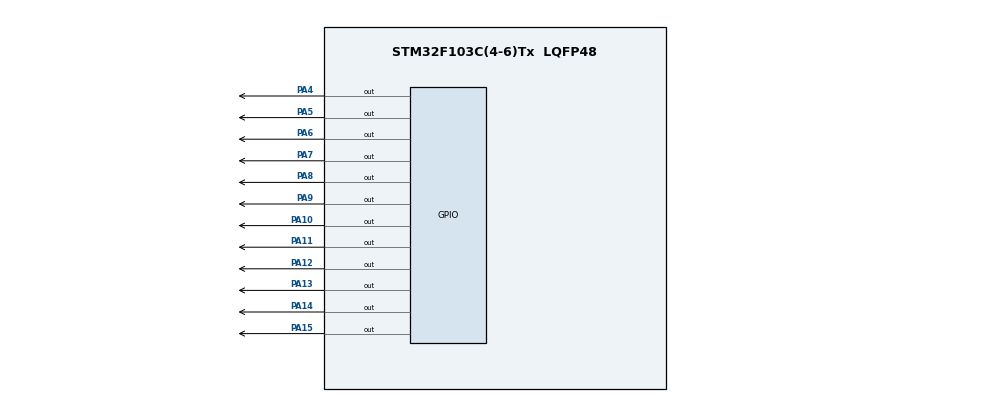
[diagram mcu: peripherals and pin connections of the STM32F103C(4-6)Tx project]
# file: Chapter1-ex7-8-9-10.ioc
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Mcu.Family=STM32F1
Mcu.Name=STM32F103C(4-6)Tx
Mcu.Package=LQFP48
NVIC.PriorityGroup=NVIC_PRIORITYGROUP_4
PA10.Signal=GPIO_Output
PA11.Signal=GPIO_Output
PA12.Signal=GPIO_Output
PA13.Signal=GPIO_Output
PA14.Signal=GPIO_Output
PA15.Signal=GPIO_Output
PA4.Signal=GPIO_Output
PA5.Signal=GPIO_Output
PA6.Signal=GPIO_Output
PA7.Signal=GPIO_Output
PA8.Signal=GPIO_Output
PA9.Signal=GPIO_Output
ProjectManager.HeapSize=0x200
ProjectManager.StackSize=0x400
ProjectManager.TargetToolchain=STM32CubeIDE
RCC.APB1Freq_Value=8000000
RCC.APB2Freq_Value=8000000
VP_SYS_VS_ND.Mode=No_Debug
board=custom

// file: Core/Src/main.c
/* USER CODE BEGIN Header */
/**
  ******************************************************************************
  * @file           : main.c
  * @brief          : Main program body
  ******************************************************************************
  * @attention
  *
  * <h2><center>&copy; Copyright (c) 2021 STMicroelectronics.
  * All rights reserved.</center></h2>
  *
  * This software component is licensed by ST under BSD 3-Clause license,
  * the "License"; You may not use this file except in compliance with the
  * License. You may obtain a copy of the License at:
  *                        opensource.org/licenses/BSD-3-Clause
  *
  ******************************************************************************
  */
/* USER CODE END Header */
#include "main.h"

void SystemClock_Config(void);
static void MX_GPIO_Init(void);
/* USER CODE BEGIN PFP */
void clearAllClock();
void setNumberClock(int);
void clearNumberClock(int);
void setClock();
/* USER CODE END PFP */

int main(void)
{

  /* MCU Configuration--------------------------------------------------------*/

  /* Reset of all peripherals, Initializes the Flash interface and the Systick. */
  HAL_Init();

  /* Configure the system clock */
  SystemClock_Config();

  /* Initialize all configured peripherals */
  MX_GPIO_Init();

  /* Infinite loop */
  /* USER CODE BEGIN WHILE */
  clearAllClock();
  while (1)
  {
    /* USER CODE END WHILE */
	  setClock();
	  HAL_Delay(250);
  }
}

void SystemClock_Config(void)
{
  RCC_OscInitTypeDef RCC_OscInitStruct = {0};
  RCC_ClkInitTypeDef RCC_ClkInitStruct = {0};

  /** Initializes the RCC Oscillators according to the specified parameters
  * in the RCC_OscInitTypeDef structure.
  */
  RCC_OscInitStruct.OscillatorType = RCC_OSCILLATORTYPE_HSI;
  RCC_OscInitStruct.HSIState = RCC_HSI_ON;
  RCC_OscInitStruct.HSICalibrationValue = RCC_HSICALIBRATION_DEFAULT;
  RCC_OscInitStruct.PLL.PLLState = RCC_PLL_NONE;
  if (HAL_RCC_OscConfig(&RCC_OscInitStruct) != HAL_OK)
  {
    Error_Handler();
  }
  /** Initializes the CPU, AHB and APB buses clocks
  */
  RCC_ClkInitStruct.ClockType = RCC_CLOCKTYPE_HCLK|RCC_CLOCKTYPE_SYSCLK
                              |RCC_CLOCKTYPE_PCLK1|RCC_CLOCKTYPE_PCLK2;
  RCC_ClkInitStruct.SYSCLKSource = RCC_SYSCLKSOURCE_HSI;
  RCC_ClkInitStruct.AHBCLKDivider = RCC_SYSCLK_DIV1;
  RCC_ClkInitStruct.APB1CLKDivider = RCC_HCLK_DIV1;
  RCC_ClkInitStruct.APB2CLKDivider = RCC_HCLK_DIV1;

  if (HAL_RCC_ClockConfig(&RCC_ClkInitStruct, FLASH_LATENCY_0) != HAL_OK)
  {
    Error_Handler();
  }
}

static void MX_GPIO_Init(void)
{
  GPIO_InitTypeDef GPIO_InitStruct = {0};

  /* GPIO Ports Clock Enable */
  __HAL_RCC_GPIOA_CLK_ENABLE();

  /*Configure GPIO pin Output Level */
  HAL_GPIO_WritePin(GPIOA, GPIO_PIN_4|GPIO_PIN_5|GPIO_PIN_6|GPIO_PIN_7
                          |GPIO_PIN_8|GPIO_PIN_9|GPIO_PIN_10|GPIO_PIN_11
                          |GPIO_PIN_12|GPIO_PIN_13|GPIO_PIN_14|GPIO_PIN_15, GPIO_PIN_RESET);

  /*Configure GPIO pins : PA4 PA5 PA6 PA7
                           PA8 PA9 PA10 PA11
                           PA12 PA13 PA14 PA15 */
  GPIO_InitStruct.Pin = GPIO_PIN_4|GPIO_PIN_5|GPIO_PIN_6|GPIO_PIN_7
                          |GPIO_PIN_8|GPIO_PIN_9|GPIO_PIN_10|GPIO_PIN_11
                          |GPIO_PIN_12|GPIO_PIN_13|GPIO_PIN_14|GPIO_PIN_15;
  GPIO_InitStruct.Mode = GPIO_MODE_OUTPUT_PP;
  GPIO_InitStruct.Pull = GPIO_NOPULL;
  GPIO_InitStruct.Speed = GPIO_SPEED_FREQ_LOW;
  HAL_GPIO_Init(GPIOA, &GPIO_InitStruct);

}

/* USER CODE BEGIN 4 */
void clearAllClock() {
  for (int i = 0 ; i < 12; i++)HAL_GPIO_WritePin(GPIOA,GPIO_PIN_4 << i,1);
	// HAL_GPIO_WritePin(GPIOA, 0xffff, 1);
}
void setNumberClock(int num) {
	HAL_GPIO_WritePin(GPIOA, GPIO_PIN_4 << num, 0);
}
void clearNumberClock(int num) {
	HAL_GPIO_WritePin(GPIOA, GPIO_PIN_4 << num, 1);
}
void setClock() {
	static int second = 11;
	static int minute = 11;
	static int hour = 11;

	second = (second==11)? 0:second+1;
	if(second == 0) {
		minute = (minute==11)? 0:minute+1;
		if(minute == 0) {
			hour = (hour==11)? 0:hour+1;
		}
	}
	clearAllClock();
	setNumberClock(second);
	setNumberClock(minute);
	setNumberClock(hour);
}
/* USER CODE END 4 */

void Error_Handler(void)
{
  __disable_irq();
  while (1)
  {
  }
}

/************************ (C) COPYRIGHT STMicroelectronics *****END OF FILE****/
